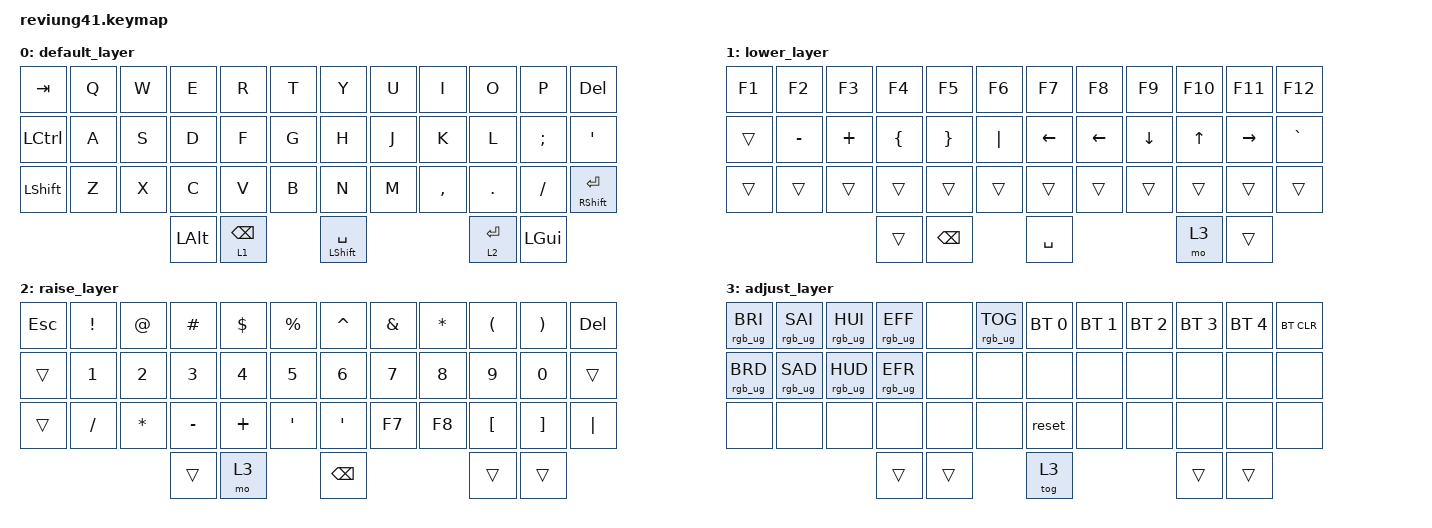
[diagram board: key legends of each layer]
/*
 * Copyright (c) 2020 The ZMK Contributors
 *
 * SPDX-License-Identifier: MIT
 */

#include <behaviors.dtsi>
#include <dt-bindings/zmk/keys.h>
#include <dt-bindings/zmk/bt.h>
#include <dt-bindings/zmk/rgb.h>


/ {
        keymap {
                compatible = "zmk,keymap";

                default_layer {
// -------------------------------------------------------------------------------------
// |  TAB |  Q  |  W  |  E  |  R  |  T  |   |  Y  |  U   |  I  |  O  |  P  |   BKSP    |
// | CTRL |  A  |  S  |  D  |  F  |  G  |   |  H  |  J   |  K  |  L  |  ;  |    '      |
// | SHFT |  Z  |  X  |  C  |  V  |  B  |   |  N  |  M   |  ,  |  .  |  /  | SHFT(RET) |
//                         | ALT | LWR | SPC | RSE  | ALT |
                        bindings = <
   &kp TAB   &kp Q &kp W &kp E &kp R &kp T   &kp Y &kp U  &kp I     &kp O   &kp P    &kp DEL
   &kp LCTRL &kp A &kp S &kp D &kp F &kp G   &kp H &kp J  &kp K     &kp L   &kp SEMI &kp SQT
   &kp LSHFT &kp Z &kp X &kp C &kp V &kp B   &kp N &kp M  &kp COMMA &kp DOT &kp FSLH &mt RSHFT RET
                        &kp LALT  &lt 1 BSPC  &mt LSHFT SPACE   &lt 2 RET &kp LGUI
                        >;
                };

                lower_layer {
// ----------------------------------------------------------------------------------
// |    |  !  |  @  |  #  |  $  |  %  |   |  ^  |  &  |  *  |  (  |  )  |    DEL    |
// |    |  _  |  +  |  {  |  }  | "|" |   | LFT | DWN |  UP | RGT |  `  |     ~     |
// |    | ESC | GUI | ALT | CAPS|  "  |   | HOME| END | PGUP| PGDN| PRSC| SHFT(RET) |
//                       |     |     | RET | ADJ |     |
                        bindings = <
   &kp F1    &kp F2     &kp F3      &kp F4    &kp F5         &kp F6    &kp F7    &kp F8     &kp F9    &kp F10   &kp F11   &kp F12
   &trans    &kp MINUS  &kp PLUS    &kp LBRC  &kp RBRC       &kp PIPE  &kp LEFT  &kp LEFT   &kp DOWN  &kp UP    &kp RIGHT &kp GRAVE
   &trans    &trans   &trans   &trans &trans       &trans   &trans &trans    &trans &trans &trans &trans
                                 &trans      &kp BSPC       &kp SPACE        &mo 3       &trans
                        >;
                };

                raise_layer {
// -----------------------------------------------------------------------------------------
// |    |  1  |  2  |  3  |  4  |  5  |   |  6  |  7  |  8  |  9  |  0  | DEL |
// |    |  -  |  =  |  [  |  ]  |  \  |   | F1  | F2  | F3  | F4  | F5  | F6  |
// |    | ESC | GUI | ALT | CAPS|  "  |   | F7  | F8  | F9  | F10 | F11 | F12 |
//                       |     | ADJ | BKSP |    |     |
                        bindings = <
   &kp ESC &kp EXCL  &kp AT     &kp HASH  &kp DLLR  &kp PRCNT      &kp CARET &kp AMPS  &kp ASTRK  &kp LPAR  &kp RPAR    &kp DEL
   &trans &kp N1    &kp N2     &kp N3    &kp N4    &kp N5         &kp N6    &kp N7    &kp N8     &kp N9    &kp N0      &trans
   &trans &kp FSLH  &kp ASTRK  &kp MINUS &kp PLUS  &kp SQT        &kp SQT   &kp F7    &kp F8     &kp LBKT  &kp RBKT    &kp PIPE   
                                &trans      &mo 3       &kp BSPC        &trans      &trans
                        >;
                };

                adjust_layer {
// -----------------------------------------------------------------------------------------
// | RGB BRI+ | RGB SAT+ | RGB HUE+ | RGB ANI+ |    | RGB TOG |   |  BT1  | BT2 | BT3 | BT4 | BT5 | BT CLR |
// | RGB BRI- | RGB SAT- | RGB HUE- | RGB ANI+ |    |         |   |       |     |     |     |     |        |
// |          |          |          |          |    |         |   | RESET |     |     |     |     |        |
//                                              |     |     |     |     |     |
                        bindings = <
   &rgb_ug RGB_BRI &rgb_ug RGB_SAI &rgb_ug RGB_HUI &rgb_ug RGB_EFF &none &rgb_ug RGB_TOG    &bt BT_SEL 0 &bt BT_SEL 1 &bt BT_SEL 2 &bt BT_SEL 3 &bt BT_SEL 4 &bt BT_CLR
   &rgb_ug RGB_BRD &rgb_ug RGB_SAD &rgb_ug RGB_HUD &rgb_ug RGB_EFR &none &none              &none        &none        &none        &none        &none        &none
   &none           &none           &none           &none           &none &none              &reset       &none        &none        &none        &none        &none
                                                             &trans      &trans       &tog 3        &trans      &trans
                        >;
                };
        };
};
